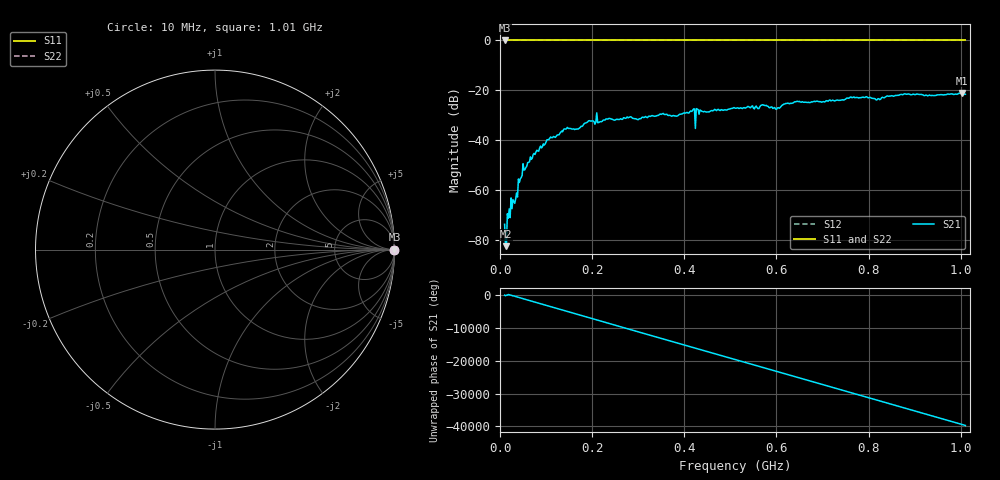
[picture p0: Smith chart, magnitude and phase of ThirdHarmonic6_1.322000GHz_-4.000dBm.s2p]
! 8/16/2025 2:42:14 PM
! C:\ANRITSUVNA\TEMP\TEMP.S2P
! CHANNEL.1
! TR.MEASUREMENT
! RAW.DATA
! RF.CORRECTION.OFF
! AVERAGING.OFF
! IF.BANDWIDTH: 5KHZ
! SWEEPTYPE:  FREQ.SWEEP(Linear)
! Reference Plane Port Info
! PORT:  PORT1  PORT2
! DISTANCE:  0  m  0  m
! TIME:  0  s  0  s
! PHASE.OFFSET:  0  deg.  0  deg.
! LOSS:  0  dB  0  dB
! REF.LOSS:  0  dB  0  dB
! REF.FREQ:  0  Hz  0  Hz
! Power Info
! POWER:  -20  dBm  -20  dBm
! EFF.POWER:  -20  dBm  -20  dBm
! SOURCE.ATTEN:  0  dB  0  dB
! TEST.ATTEN:  0  dB  0  dB
# GHZ S RI R 50.0
! FREQ.GHZ  S11RE  S11IM  S21RE  S21IM  S12RE  S12IM  S22RE  S22IM
!; PortSelection: Port_12
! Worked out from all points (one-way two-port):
!   501 points, 10 MHz to 1.01 GHz, reference 50 ohm
!   highest |S21| = -21.04 dB at 1.002 GHz (marker M1); lowest = -82.7 dB at 12 MHz (marker M2)
!   lowest |S11| = 0.0 dB at 10 MHz (marker M3)
!   |S11| at or under -10 dB: nowhere
!   |S22| runs from 0.0 to 0.0 dB; largest |S21 - S12| = 1.1
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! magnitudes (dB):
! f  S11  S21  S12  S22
! 10 MHz  0.0  -73.9  0.0  0.0
! 12 MHz  0.0  -82.7  0.0  0.0
! 16 MHz  0.0  -69.6  0.0  0.0
! 20 MHz  0.0  -67.7  0.0  0.0
! 34 MHz  0.0  -63.7  0.0  0.0
! 46 MHz  0.0  -55.1  0.0  0.0
! 70 MHz  0.0  -47.3  0.0  0.0
! 106 MHz  0.0  -39.8  0.0  0.0
! 142 MHz  0.0  -35.6  0.0  0.0
! 178 MHz  0.0  -34.5  0.0  0.0
! 196 MHz  0.0  -32.3  0.0  0.0
! 344 MHz  0.0  -30.1  0.0  0.0
! 418 MHz  0.0  -28.1  0.0  0.0
! 428 MHz  0.0  -27.6  0.0  0.0
! 510 MHz  0.0  -27.2  0.0  0.0
! 570 MHz  0.0  -25.8  0.0  0.0
! 602 MHz  0.0  -27.1  0.0  0.0
! 642 MHz  0.0  -24.6  0.0  0.0
! 678 MHz  0.0  -24.7  0.0  0.0
! 844 MHz  0.0  -22.4  0.0  0.0
! 1.002 GHz  0.0  -21.0  0.0  0.0
! 1.01 GHz  0.0  -21.6  0.0  0.0
